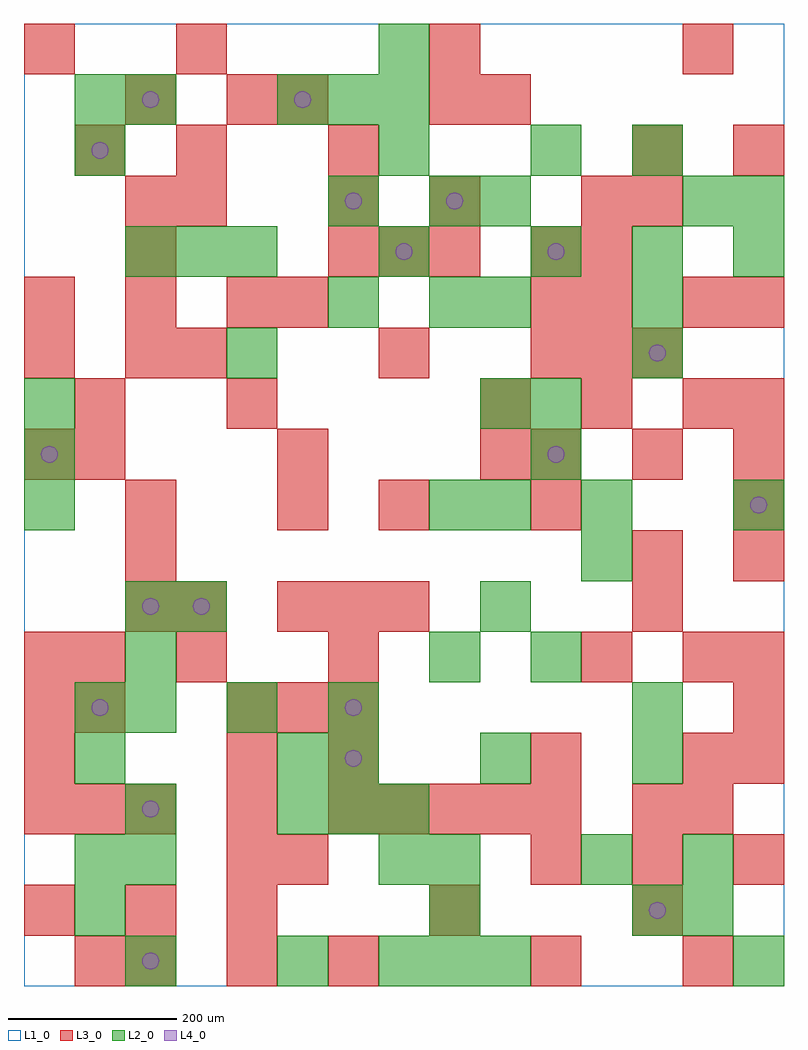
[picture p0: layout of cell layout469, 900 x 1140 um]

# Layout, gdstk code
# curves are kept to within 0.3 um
import gdstk
lib = gdstk.Library(unit=1e-6, precision=1e-09)
def R(c, l, rs):  # rectangles x0, y0, x1, y1
    for r in rs: c.add(gdstk.rectangle(r[:2], r[2:], *l))
def A(c, l, x, y, w, h, nx, ny, dx, dy):  # array of equal rectangles
    R(c, l, [(x+i*dx, y+j*dy, x+i*dx+w, y+j*dy+h) for i in range(nx) for j in range(ny)])
def P(c, l, *ps):  # polygons
    for p in ps: c.add(gdstk.Polygon(p, *l))
L1_0 = (1, 0)
L2_0 = (2, 0)
L3_0 = (3, 0)
L4_0 = (4, 0)

layout469 = lib.new_cell('layout469')
R(layout469, L1_0, [(0,0,900,1140)])
A(layout469, L2_0, 420, 0, 60, 60, 3, 1, 60, 0)
A(layout469, L2_0, 300, 180, 60, 60, 3, 2, 60, 840)
A(layout469, L2_0, 360, 240, 60, 60, 3, 1, 180, 0)
A(layout469, L2_0, 120, 300, 60, 60, 3, 1, 120, 0)
A(layout469, L2_0, 540, 420, 60, 60, 1, 5, 0, 120)
A(layout469, L2_0, 0, 540, 60, 60, 1, 3, 0, 60)
A(layout469, L2_0, 120, 840, 60, 60, 3, 1, 60, 0)
A(layout469, L2_0, 420, 840, 60, 60, 1, 3, 0, 120)
A(layout469, L2_0, 600, 840, 60, 60, 3, 1, 120, 0)
R(layout469, L2_0, [(120,0,180,60), (300,0,360,60), (840,0,900,60), (60,60,120,120), (480,60,540,120), (720,60,780,120), (780,60,840,120), (60,120,120,180), (120,120,180,180), (420,120,480,180), (480,120,540,180), (660,120,720,180), (780,120,840,180), (120,180,180,240), (60,240,120,300), (300,240,360,300), (60,300,120,360), (720,300,780,360), (120,360,180,420), (480,360,540,420), (600,360,660,420), (120,420,180,480), (180,420,240,480), (660,480,720,540), (480,540,540,600), (660,540,720,600), (840,540,900,600), (600,600,660,660), (600,660,660,720), (240,720,300,780), (720,720,780,780), (360,780,420,840), (480,780,540,840), (720,780,780,840), (360,900,420,960), (480,900,540,960), (780,900,840,960), (840,900,900,960), (60,960,120,1020), (600,960,660,1020), (720,960,780,1020), (60,1020,120,1080), (120,1020,180,1080)])
A(layout469, L3_0, 120, 0, 60, 60, 3, 1, 120, 0)
A(layout469, L3_0, 0, 60, 60, 60, 3, 2, 120, 720)
A(layout469, L3_0, 240, 120, 60, 60, 1, 3, 0, 60)
A(layout469, L3_0, 600, 120, 60, 60, 3, 2, 120, 480)
A(layout469, L3_0, 0, 180, 60, 60, 3, 1, 60, 0)
A(layout469, L3_0, 360, 180, 60, 60, 5, 1, 60, 0)
A(layout469, L3_0, 0, 240, 60, 60, 1, 3, 0, 60)
A(layout469, L3_0, 840, 240, 60, 60, 1, 3, 0, 60)
A(layout469, L3_0, 240, 300, 60, 60, 3, 1, 60, 0)
A(layout469, L3_0, 60, 360, 60, 60, 1, 3, 0, 300)
A(layout469, L3_0, 120, 420, 60, 60, 1, 3, 0, 60)
A(layout469, L3_0, 300, 420, 60, 60, 3, 1, 60, 0)
A(layout469, L3_0, 300, 540, 60, 60, 1, 3, 0, 240)
A(layout469, L3_0, 840, 540, 60, 60, 1, 3, 0, 120)
A(layout469, L3_0, 60, 600, 60, 60, 3, 1, 240, 0)
A(layout469, L3_0, 540, 660, 60, 60, 3, 1, 120, 0)
A(layout469, L3_0, 600, 720, 60, 60, 3, 1, 60, 0)
A(layout469, L3_0, 660, 780, 60, 60, 1, 3, 0, 60)
A(layout469, L3_0, 360, 840, 60, 60, 3, 1, 60, 0)
A(layout469, L3_0, 180, 1080, 60, 60, 3, 1, 300, 0)
R(layout469, L3_0, [(60,0,120,60), (600,0,660,60), (780,0,840,60), (480,60,540,120), (720,60,780,120), (300,120,360,180), (720,180,780,240), (780,180,840,240), (360,240,420,300), (600,240,660,300), (780,240,840,300), (60,300,120,360), (180,360,240,420), (360,360,420,420), (660,360,720,420), (780,360,840,420), (180,420,240,480), (720,420,780,480), (720,480,780,540), (840,480,900,540), (420,540,480,600), (600,540,660,600), (0,600,60,660), (240,660,300,720), (0,720,60,780), (120,720,180,780), (180,720,240,780), (420,720,480,780), (600,780,660,840), (780,780,840,840), (120,840,180,900), (600,840,660,900), (120,900,180,960), (180,900,240,960), (360,900,420,960), (480,900,540,960), (720,900,780,960), (180,960,240,1020), (360,960,420,1020), (720,960,780,1020), (840,960,900,1020), (120,1020,180,1080), (240,1020,300,1080), (480,1020,540,1080), (540,1020,600,1080), (0,1080,60,1140)])
P(layout469, L4_0, [(40,630),(39.239,633.827),(37.071,637.071),(33.827,639.239),(30,640),(26.173,639.239),(22.929,637.071),(20.761,633.827),(20,630),(20.761,626.173),(22.929,622.929),(26.173,620.761),(30,620),(33.827,620.761),(37.071,622.929),(39.239,626.173)],
  [(100,330),(99.239,333.827),(97.071,337.071),(93.827,339.239),(90,340),(86.173,339.239),(82.929,337.071),(80.761,333.827),(80,330),(80.761,326.173),(82.929,322.929),(86.173,320.761),(90,320),(93.827,320.761),(97.071,322.929),(99.239,326.173)],
  [(100,990),(99.239,993.827),(97.071,997.071),(93.827,999.239),(90,1000),(86.173,999.239),(82.929,997.071),(80.761,993.827),(80,990),(80.761,986.173),(82.929,982.929),(86.173,980.761),(90,980),(93.827,980.761),(97.071,982.929),(99.239,986.173)],
  [(160,30),(159.239,33.827),(157.071,37.071),(153.827,39.239),(150,40),(146.173,39.239),(142.929,37.071),(140.761,33.827),(140,30),(140.761,26.173),(142.929,22.929),(146.173,20.761),(150,20),(153.827,20.761),(157.071,22.929),(159.239,26.173)],
  [(160,210),(159.239,213.827),(157.071,217.071),(153.827,219.239),(150,220),(146.173,219.239),(142.929,217.071),(140.761,213.827),(140,210),(140.761,206.173),(142.929,202.929),(146.173,200.761),(150,200),(153.827,200.761),(157.071,202.929),(159.239,206.173)],
  [(160,450),(159.239,453.827),(157.071,457.071),(153.827,459.239),(150,460),(146.173,459.239),(142.929,457.071),(140.761,453.827),(140,450),(140.761,446.173),(142.929,442.929),(146.173,440.761),(150,440),(153.827,440.761),(157.071,442.929),(159.239,446.173)],
  [(160,1050),(159.239,1053.827),(157.071,1057.071),(153.827,1059.239),(150,1060),(146.173,1059.239),(142.929,1057.071),(140.761,1053.827),(140,1050),(140.761,1046.173),(142.929,1042.929),(146.173,1040.761),(150,1040),(153.827,1040.761),(157.071,1042.929),(159.239,1046.173)],
  [(220,450),(219.239,453.827),(217.071,457.071),(213.827,459.239),(210,460),(206.173,459.239),(202.929,457.071),(200.761,453.827),(200,450),(200.761,446.173),(202.929,442.929),(206.173,440.761),(210,440),(213.827,440.761),(217.071,442.929),(219.239,446.173)],
  [(340,1050),(339.239,1053.827),(337.071,1057.071),(333.827,1059.239),(330,1060),(326.173,1059.239),(322.929,1057.071),(320.761,1053.827),(320,1050),(320.761,1046.173),(322.929,1042.929),(326.173,1040.761),(330,1040),(333.827,1040.761),(337.071,1042.929),(339.239,1046.173)],
  [(400,270),(399.239,273.827),(397.071,277.071),(393.827,279.239),(390,280),(386.173,279.239),(382.929,277.071),(380.761,273.827),(380,270),(380.761,266.173),(382.929,262.929),(386.173,260.761),(390,260),(393.827,260.761),(397.071,262.929),(399.239,266.173)],
  [(400,330),(399.239,333.827),(397.071,337.071),(393.827,339.239),(390,340),(386.173,339.239),(382.929,337.071),(380.761,333.827),(380,330),(380.761,326.173),(382.929,322.929),(386.173,320.761),(390,320),(393.827,320.761),(397.071,322.929),(399.239,326.173)],
  [(400,930),(399.239,933.827),(397.071,937.071),(393.827,939.239),(390,940),(386.173,939.239),(382.929,937.071),(380.761,933.827),(380,930),(380.761,926.173),(382.929,922.929),(386.173,920.761),(390,920),(393.827,920.761),(397.071,922.929),(399.239,926.173)],
  [(460,870),(459.239,873.827),(457.071,877.071),(453.827,879.239),(450,880),(446.173,879.239),(442.929,877.071),(440.761,873.827),(440,870),(440.761,866.173),(442.929,862.929),(446.173,860.761),(450,860),(453.827,860.761),(457.071,862.929),(459.239,866.173)],
  [(520,930),(519.239,933.827),(517.071,937.071),(513.827,939.239),(510,940),(506.173,939.239),(502.929,937.071),(500.761,933.827),(500,930),(500.761,926.173),(502.929,922.929),(506.173,920.761),(510,920),(513.827,920.761),(517.071,922.929),(519.239,926.173)],
  [(640,630),(639.239,633.827),(637.071,637.071),(633.827,639.239),(630,640),(626.173,639.239),(622.929,637.071),(620.761,633.827),(620,630),(620.761,626.173),(622.929,622.929),(626.173,620.761),(630,620),(633.827,620.761),(637.071,622.929),(639.239,626.173)],
  [(640,870),(639.239,873.827),(637.071,877.071),(633.827,879.239),(630,880),(626.173,879.239),(622.929,877.071),(620.761,873.827),(620,870),(620.761,866.173),(622.929,862.929),(626.173,860.761),(630,860),(633.827,860.761),(637.071,862.929),(639.239,866.173)],
  [(760,90),(759.239,93.827),(757.071,97.071),(753.827,99.239),(750,100),(746.173,99.239),(742.929,97.071),(740.761,93.827),(740,90),(740.761,86.173),(742.929,82.929),(746.173,80.761),(750,80),(753.827,80.761),(757.071,82.929),(759.239,86.173)],
  [(760,750),(759.239,753.827),(757.071,757.071),(753.827,759.239),(750,760),(746.173,759.239),(742.929,757.071),(740.761,753.827),(740,750),(740.761,746.173),(742.929,742.929),(746.173,740.761),(750,740),(753.827,740.761),(757.071,742.929),(759.239,746.173)],
  [(880,570),(879.239,573.827),(877.071,577.071),(873.827,579.239),(870,580),(866.173,579.239),(862.929,577.071),(860.761,573.827),(860,570),(860.761,566.173),(862.929,562.929),(866.173,560.761),(870,560),(873.827,560.761),(877.071,562.929),(879.239,566.173)])

lib.write_gds('layout469.gds')
